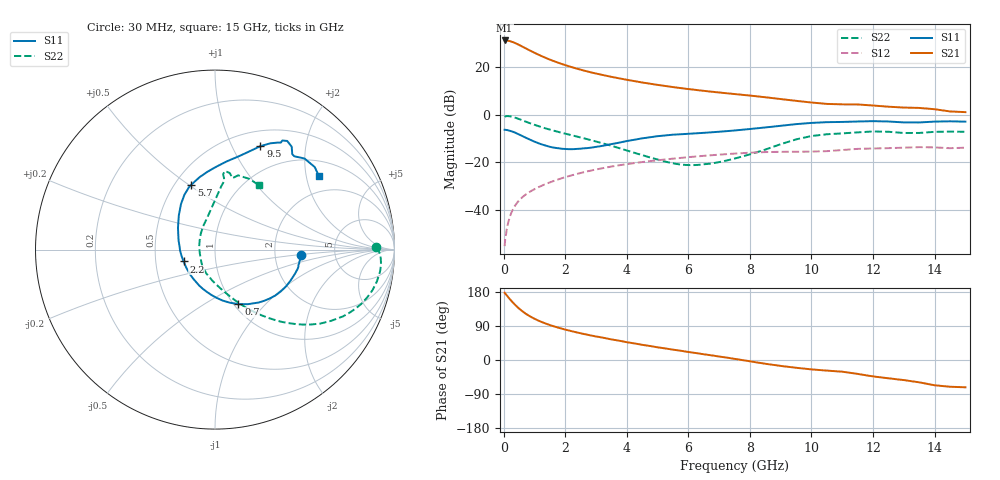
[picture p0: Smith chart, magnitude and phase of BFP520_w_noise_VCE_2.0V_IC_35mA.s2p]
! Infineon Technologies  Discrete & RF Semiconductors
! BFP520
! VCE =  2.0 V,  IC =  35 mA
! Common Emitter S-Parameters:  Oct 2015
# GHz  S  MA  R  50
!  f  S11  S21  S12  S22
! GHz  MAG  ANG  MAG  ANG  MAG  ANG  MAG  ANG
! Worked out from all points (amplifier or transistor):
!   109 points, 30 MHz to 15 GHz, reference 50 ohm
!   highest |S21| = 31.2 dB at 30 MHz (marker M1)
!   |S21| within 3 dB of that: start of sweep to 668.9 MHz
!   unconditionally stable (mu >= 1): start of sweep to 33.81 MHz; 2.295 GHz to end of sweep
!   at 450 MHz: K = 0.43, MSG = 33.3 dB, |S12| = -36.9 dB
!   at 4 GHz: K = 1.13, MAG = 15.6 dB, |S12| = -20.8 dB
!   at 15 GHz: K = 1.26, MAG = 4.4 dB, |S12| = -13.9 dB
!   lowest NFmin = 2.65 dB at 900 MHz
!   S11 on the Smith chart (normalised r, x): 30 MHz: 2.81, -0.23; 700 MHz: 1.05, -0.71; 2.2 GHz: 0.70, -0.10; 5.7 GHz: 0.60, +0.51; 9.5 GHz: 0.68, +1.29; 15 GHz: 1.43, +2.37
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0.03  0.4784 -3.8  36.29 177.4  0.0017 109.5  0.8986 0.8
0.14  0.4674 -15.8  35.83 166.5  0.0051 85.8  0.9278 -7.2
0.25  0.4455 -27.5  34.35 156.0  0.0086 80.8  0.9058 -14.5
0.35  0.4223 -37.3  32.46 147.3  0.0116 77.3  0.8692 -20.4
0.4  0.4085 -41.9  31.39 143.2  0.0129 76.1  0.8482 -22.9
0.5  0.3815 -50.7  29.22 135.8  0.0156 73.9  0.8038 -27.6
0.6  0.3548 -59.0  27.11 129.1  0.0181 72.2  0.7592 -31.5
0.7  0.3301 -66.8  25.08 123.1  0.0204 70.8  0.7169 -35.1
0.8  0.3078 -74.2  23.19 117.8  0.0226 69.6  0.6777 -38.0
1  0.2693 -88.0  20 108.9  0.0269 68.0  0.6088 -42.9
1.3  0.2289 -107.2  16.27 98.2  0.0332 66.1  0.527 -48.8
1.7  0.1983 -131.6  12.82 87.1  0.0416 63.7  0.4451 -55.0
2.2  0.187 -159.3  10 76.2  0.0524 60.4  0.3686 -61.7
2.6  0.1948 -178.6  8.456 68.7  0.0612 57.4  0.3174 -66.8
3.5  0.2392 149.6  6.218 54.3  0.0806 49.4  0.2202 -81.6
5.1  0.3559 117.5  4.126 32.3  0.1109 34.3  0.1088 -132.5
5.7  0.3837 110.2  3.646 25.0  0.1216 28.8  0.0898 -156.3
7.6  0.469 87.5  2.665 1.8  0.1523 10.6  0.1233 128.5
9.5  0.6292 66.3  1.945 -20.5  0.1652 -8.0  0.3006 87.8
10.5  0.6922 59.5  1.677 -28.0  0.1699 -13.2  0.3852 82.4
13  0.6839 51.0  1.404 -53.0  0.2011 -34.8  0.4099 76.2
15  0.7099 35.5  1.126 -72.0  0.2009 -51.2  0.4346 56.0
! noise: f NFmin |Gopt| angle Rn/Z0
0.45  2.66  0.09  -142  0.28
0.9  2.65  0.1  -137  0.31
1.9  2.82  0.14  -118  0.32
2.4  2.81  0.16  -115  0.31
3.5  2.77  0.17  -104  0.35
